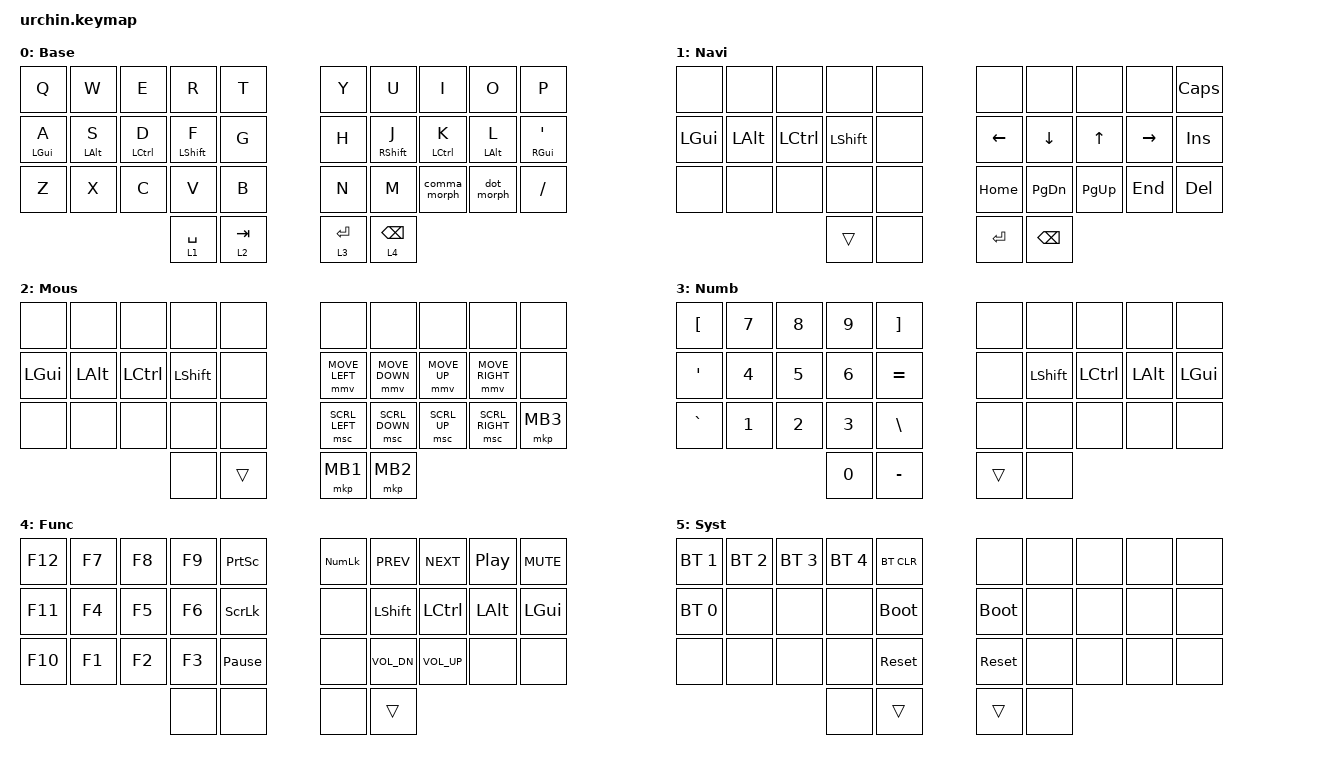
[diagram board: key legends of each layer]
/*
 * Copyright (c) 2026 lucidust
 *
 */

#include <behaviors.dtsi>
#include <dt-bindings/zmk/bt.h>
#include <dt-bindings/zmk/keys.h>
#define ZMK_POINTING_DEFAULT_MOVE_VAL 800
#define ZMK_POINTING_DEFAULT_SCRL_VAL 15
#include <dt-bindings/zmk/pointing.h>
#include <dt-bindings/zmk/modifiers.h>

/ {
    combos {
        compatible = "zmk,combos";

        /*
         * Position map:
         *  0  1  2  3  4      5  6  7  8  9
         * 10 11 12 13 14     15 16 17 18 19
         * 20 21 22 23 24     25 26 27 28 29
         *          30 31     32 33
         *
         * LT4 LT3 LT2 LT1 LT0     RT0 RT1 RT2 RT3 RT4
         * LM4 LM3 LM2 LM1 LM0     RM0 RM1 RM2 RM3 RM4
         * LB4 LB3 LB2 LB1 LB0     RB0 RB1 RB2 RB3 RB4
         *             LH1 LH0     RH0 RH1
         *
         * Combo timing:
         * FAST: timeout-ms = 18, require-prior-idle-ms = 150
         * SLOW: timeout-ms = 30, require-prior-idle-ms = 50
         */

        /* Horizontal combos - left hand */

        combo_esc {
            timeout-ms = <18>;
            require-prior-idle-ms = <150>;
            key-positions = <1 2>;        // LT3 LT2
            bindings = <&kp ESC>;
            layers = <0>;
        };

        combo_space {
            timeout-ms = <18>;
            require-prior-idle-ms = <150>;
            key-positions = <1 3>;        // LT3 LT1
            bindings = <&kp SPACE>;
            layers = <0>;
        };

        /* reserve to &smart_mouse
        combo_mouse {
            timeout-ms = <18>;
            require-prior-idle-ms = <150>;
            key-positions = <2 3>;        // LT2 LT1
            bindings = <&smart_mouse>;
            layers = <0>;
        };
        */

        combo_tab {
            timeout-ms = <18>;
            require-prior-idle-ms = <150>;
            key-positions = <2 3>;        // LT2 LT1
            bindings = <&kp TAB>;         // to be <&hml LC(LALT) TAB>;
            layers = <0>;
        };

        /* reserve to &leader
        combo_leader {
            timeout-ms = <18>;
            require-prior-idle-ms = <150>;
            key-positions = <12 13>;      // LM2 LM1
            bindings = <&leader>;
            layers = <0>;
        };
        */

        combo_cut {
            timeout-ms = <18>;
            require-prior-idle-ms = <150>;
            key-positions = <21 23>;      // LB3 LB1
            bindings = <&kp LC(X)>;
            layers = <0>;
        };

        combo_copy {
            timeout-ms = <18>;
            require-prior-idle-ms = <150>;
            key-positions = <21 22>;      // LB3 LB2
            bindings = <&kp LC(INS)>;
            layers = <0>;
        };

        combo_paste {
            timeout-ms = <18>;
            require-prior-idle-ms = <150>;
            key-positions = <22 23>;      // LB2 LB1
            bindings = <&kp LS(INS)>;
            layers = <0>;
        };

        /* Horizontal combos - right hand */

        combo_bspc {
            timeout-ms = <18>;
            require-prior-idle-ms = <150>;
            key-positions = <6 7>;        // RT1 RT2
            bindings = <&kp BSPC>;
            layers = <0>;
        };

        combo_del {
            timeout-ms = <18>;
            require-prior-idle-ms = <150>;
            key-positions = <7 8>;        // RT2 RT3
            bindings = <&kp DEL>;
            layers = <0>;
        };

        combo_enter {
            timeout-ms = <18>;
            require-prior-idle-ms = <150>;
            key-positions = <6 8>;        // RT1 RT3
            bindings = <&kp ENTER>;
            layers = <0>;
        };

        combo_lpar {
            timeout-ms = <18>;
            require-prior-idle-ms = <150>;
            key-positions = <16 17>;      // RM1 RM2
            bindings = <&lpar_lt>;
            layers = <0>;
        };

        combo_rpar {
            timeout-ms = <18>;
            require-prior-idle-ms = <150>;
            key-positions = <17 18>;      // RM2 RM3
            bindings = <&rpar_gt>;
            layers = <0>;
        };

        combo_lbkt {
            timeout-ms = <18>;
            require-prior-idle-ms = <150>;
            key-positions = <26 27>;      // RB1 RB2
            bindings = <&kp LBKT>;
            layers = <0>;
        };

        combo_rbkt {
            timeout-ms = <18>;
            require-prior-idle-ms = <150>;
            key-positions = <27 28>;      // RB2 RB3
            bindings = <&kp RBKT>;
            layers = <0>;
        };

        /* Vertical combos - left hand */

        combo_at {
            timeout-ms = <30>;
            require-prior-idle-ms = <50>;
            key-positions = <1 11>;       // LT3 LM3
            bindings = <&kp AT>;
            layers = <0>;
        };

        combo_hash {
            timeout-ms = <30>;
            require-prior-idle-ms = <50>;
            key-positions = <2 12>;       // LT2 LM2
            bindings = <&kp HASH>;
            layers = <0>;
        };

        combo_dllr {
            timeout-ms = <30>;
            require-prior-idle-ms = <50>;
            key-positions = <3 13>;       // LT1 LM1
            bindings = <&kp DLLR>;
            layers = <0>;
        };

        combo_prcnt {
            timeout-ms = <30>;
            require-prior-idle-ms = <50>;
            key-positions = <4 14>;       // LT0 LM0
            bindings = <&kp PRCNT>;
            layers = <0>;
        };

        combo_grave {
            timeout-ms = <30>;
            require-prior-idle-ms = <50>;
            key-positions = <11 21>;      // LM3 LB3
            bindings = <&kp GRAVE>;
            layers = <0>;
        };

        combo_bslh {
            timeout-ms = <30>;
            require-prior-idle-ms = <50>;
            key-positions = <12 22>;      // LM2 LB2
            bindings = <&kp BSLH>;
            layers = <0>;
        };

        combo_equal {
            timeout-ms = <30>;
            require-prior-idle-ms = <50>;
            key-positions = <13 23>;      // LM1 LB1
            bindings = <&kp EQUAL>;
            layers = <0>;
        };

        combo_tilde {
            timeout-ms = <30>;
            require-prior-idle-ms = <50>;
            key-positions = <14 24>;      // LM0 LB0
            bindings = <&kp TILDE>;
            layers = <0>;
        };


        /* Vertical combos - right hand */

        combo_caret {
            timeout-ms = <30>;
            require-prior-idle-ms = <50>;
            key-positions = <5 15>;       // RT0 RM0
            bindings = <&kp CARET>;
            layers = <0>;
        };

        combo_plus {
            timeout-ms = <30>;
            require-prior-idle-ms = <50>;
            key-positions = <6 16>;       // RT1 RM1
            bindings = <&kp PLUS>;
            layers = <0>;
        };

        combo_star {
            timeout-ms = <30>;
            require-prior-idle-ms = <50>;
            key-positions = <7 17>;       // RT2 RM2
            bindings = <&kp STAR>;
            layers = <0>;
        };

        combo_amps {
            timeout-ms = <30>;
            require-prior-idle-ms = <50>;
            key-positions = <8 18>;       // RT3 RM3
            bindings = <&kp AMPS>;
            layers = <0>;
        };

        combo_under {
            timeout-ms = <30>;
            require-prior-idle-ms = <50>;
            key-positions = <15 25>;      // RM0 RB0
            bindings = <&kp UNDER>;
            layers = <0>;
        };

        combo_minus {
            timeout-ms = <30>;
            require-prior-idle-ms = <50>;
            key-positions = <16 26>;      // RM1 RB1
            bindings = <&kp MINUS>;
            layers = <0>;
        };

        combo_excl {
            timeout-ms = <30>;
            require-prior-idle-ms = <50>;
            key-positions = <17 27>;      // RM2 RB2
            bindings = <&kp EXCL>;
            layers = <0>;
        };

        combo_pipe {
            timeout-ms = <30>;
            require-prior-idle-ms = <50>;
            key-positions = <18 28>;      // RM3 RB3
            bindings = <&kp PIPE>;
            layers = <0>;
        };

        combo_hangul {
            timeout-ms = <30>;
            require-prior-idle-ms = <150>;
            key-positions = <26 28>;      // RB1 RB3
            bindings = <&kp RALT>;
            layers = <0>;
        };

        /* Extra combos - tow hands */

        combo_mo_sys {
            timeout-ms = <30>;
            require-prior-idle-ms = <150>;
            key-positions = <31 32>;      // LH0 RH0
            bindings = <&mo 5>;
        };
    };

    behaviors {
        /* homerow mods */

        hml: hml {
            compatible = "zmk,behavior-hold-tap";
            label = "homerow_mods_left";
            bindings = <&kp>, <&kp>;

            #binding-cells = <2>;
            tapping-term-ms = <280>;
            quick-tap-ms = <175>;
            require-prior-idle-ms = <150>;
            flavor = "balanced";
            hold-trigger-key-positions = <5 6 7 8 9 15 16 17 18 19 25 26 27 28 29 30 31 32 33>;
            hold-trigger-on-release;
        };

        hmr: hmr {
            compatible = "zmk,behavior-hold-tap";
            label = "homerow_mods_right";
            bindings = <&kp>, <&kp>;

            #binding-cells = <2>;
            tapping-term-ms = <280>;
            quick-tap-ms = <175>;
            require-prior-idle-ms = <150>;
            flavor = "balanced";
            hold-trigger-on-release;
            hold-trigger-key-positions = <0 1 2 3 4 10 11 12 13 14 20 21 22 23 24 30 31 32 33>;
        };

        /* base symbol morphs */

        lpar_lt: lpar_lt {
            compatible = "zmk,behavior-mod-morph";
            label = "LPAR_LT";
            #binding-cells = <0>;
            bindings = <&kp LPAR>, <&kp LT>;
            mods = <(MOD_LSFT | MOD_RSFT)>;
        };

        rpar_gt: rpar_gt {
            compatible = "zmk,behavior-mod-morph";
            label = "RPAR_GT";
            #binding-cells = <0>;
            bindings = <&kp RPAR>, <&kp GT>;
            mods = <(MOD_LSFT | MOD_RSFT)>;
        };

        comma_morph: comma_morph {
            compatible = "zmk,behavior-mod-morph";
            label = "COMMA_MORPH";
            #binding-cells = <0>;
            bindings = <&kp COMMA>, <&kp SEMI>;
            mods = <(MOD_LSFT | MOD_RSFT)>;
        };

        dot_morph: dot_morph {
            compatible = "zmk,behavior-mod-morph";
            label = "DOT_MORPH";
            #binding-cells = <0>;
            bindings = <&kp DOT>, <&kp COLON>;
            mods = <(MOD_LSFT | MOD_RSFT)>;
        };

        qexcl: qexcl {
            compatible = "zmk,behavior-mod-morph";
            label = "QEXCL";
            #binding-cells = <0>;
            bindings = <&kp QMARK>, <&kp EXCL>;
            mods = <(MOD_LSFT | MOD_RSFT)>;
        };
    };

    keymap {
        compatible = "zmk,keymap";

        Qwerty {
            label = "Base";
            bindings = <
&kp Q            &kp W            &kp E                &kp R              &kp T      &kp Y        &kp U               &kp I                &kp O            &kp P
&hml LGUI A      &hml LALT S      &hml LCTRL D         &hml LSHFT F       &kp G      &kp H        &hmr RSHFT J        &hmr LCTRL K         &hmr LALT L      &hmr RGUI SQT
&kp Z            &kp X            &kp C                &kp V              &kp B      &kp N        &kp M               &comma_morph         &dot_morph       &kp FSLH
                                                       &lt 1 SPACE        &lt 2 TAB  &lt 3 ENTER  &lt 4 BSPC
            >;
        };

        Navigation {
            bindings = <
&none            &none            &none                &none              &none      &none        &none               &none                &none            &kp CAPS
&kp LGUI         &kp LALT         &kp LCTRL            &kp LSHFT          &none      &kp LEFT     &kp DOWN            &kp UP               &kp RIGHT        &kp INS
&none            &none            &none                &none              &none      &kp HOME     &kp PG_DN           &kp PG_UP            &kp END          &kp DEL
                                                       &trans             &none      &kp ENTER    &kp BSPC
            >;

            label = "Navi";
        };

        Mouse {
            bindings = <
&none         &none         &none          &none           &none          &none           &none             &none             &none              &none
&kp LGUI      &kp LALT      &kp LCTRL      &kp LSHFT       &none          &mmv MOVE_LEFT  &mmv MOVE_DOWN    &mmv MOVE_UP      &mmv MOVE_RIGHT    &none
&none         &none         &none          &none           &none          &msc SCRL_LEFT  &msc SCRL_DOWN    &msc SCRL_UP      &msc SCRL_RIGHT    &mkp MB3
                                           &none           &trans         &mkp MB1        &mkp MB2
            >;

            label = "Mous";
        };

        Number {
            bindings = <
&kp LBKT    &kp N7  &kp N8  &kp N9  &kp RBKT      &none   &none        &none        &none       &none
&kp SQT     &kp N4  &kp N5  &kp N6  &kp EQUAL     &none   &kp LSHFT    &kp LCTRL    &kp LALT    &kp LGUI
&kp GRAVE   &kp N1  &kp N2  &kp N3  &kp BSLH      &none   &none        &none        &none       &none
                            &kp N0  &kp MINUS     &trans  &none
            >;

            label = "Numb";
        };

        Function {
            bindings = <
&kp F12  &kp F7  &kp F8  &kp F9  &kp PSCRN            &kp KP_NUMLOCK  &kp C_PREV    &kp C_NEXT    &kp C_PP    &kp C_MUTE
&kp F11  &kp F4  &kp F5  &kp F6  &kp SLCK             &none  &kp LSHFT    &kp LCTRL    &kp LALT    &kp LGUI
&kp F10  &kp F1  &kp F2  &kp F3  &kp PAUSE_BREAK      &none  &kp C_VOL_DN  &kp C_VOL_UP  &none       &none
                         &none   &none                &none  &trans
            >;

            label = "Func";
        };

        System {
            bindings = <
&bt BT_SEL 1  &bt BT_SEL 2  &bt BT_SEL 3  &bt BT_SEL 4  &bt BT_CLR   &none        &none  &none  &none  &none
&bt BT_SEL 0  &none         &none         &none         &bootloader  &bootloader  &none  &none  &none  &none
&none         &none         &none         &none         &sys_reset   &sys_reset   &none  &none  &none  &none
                                          &none         &trans       &trans       &none
            >;

            label = "Syst";
        };
    };
};
